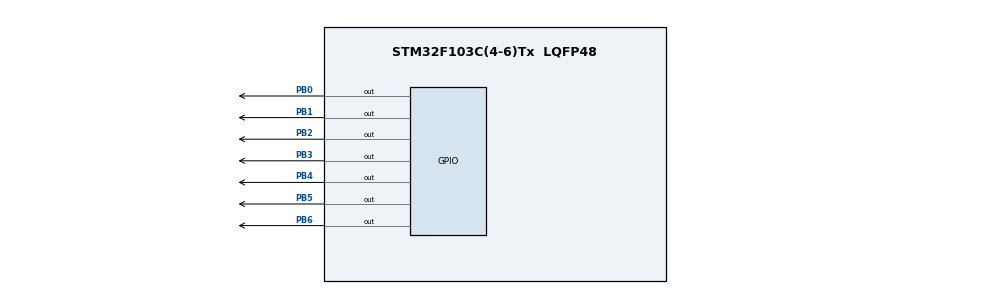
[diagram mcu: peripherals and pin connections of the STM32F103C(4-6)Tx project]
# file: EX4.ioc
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Mcu.Family=STM32F1
Mcu.Name=STM32F103C(4-6)Tx
Mcu.Package=LQFP48
NVIC.PriorityGroup=NVIC_PRIORITYGROUP_4
PB0.Signal=GPIO_Output
PB1.Signal=GPIO_Output
PB2.Signal=GPIO_Output
PB3.Signal=GPIO_Output
PB4.Signal=GPIO_Output
PB5.Signal=GPIO_Output
PB6.Signal=GPIO_Output
ProjectManager.HeapSize=0x200
ProjectManager.StackSize=0x400
ProjectManager.TargetToolchain=STM32CubeIDE
RCC.APB1Freq_Value=8000000
RCC.APB2Freq_Value=8000000
VP_SYS_VS_ND.Mode=No_Debug
board=custom

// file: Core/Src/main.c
/* USER CODE BEGIN Header */
/**
  ******************************************************************************
  * @file           : main.c
  * @brief          : Main program body
  ******************************************************************************
  * @attention
  *
  * <h2><center>&copy; Copyright (c) 2024 STMicroelectronics.
  * All rights reserved.</center></h2>
  *
  * This software component is licensed by ST under BSD 3-Clause license,
  * the "License"; You may not use this file except in compliance with the
  * License. You may obtain a copy of the License at:
  *                        opensource.org/licenses/BSD-3-Clause
  *
  ******************************************************************************
  */
/* USER CODE END Header */
#include "main.h"

void SystemClock_Config(void);
static void MX_GPIO_Init(void);

int main(void)
{

  /* MCU Configuration--------------------------------------------------------*/

  /* Reset of all peripherals, Initializes the Flash interface and the Systick. */
  HAL_Init();

  /* Configure the system clock */
  SystemClock_Config();

  /* Initialize all configured peripherals */
  MX_GPIO_Init();

  /* Infinite loop */
  /* USER CODE BEGIN WHILE */
  void led7seg_on(int pin) {
  	 HAL_GPIO_WritePin(GPIOB, pin, RESET);
  }

  void led7seg_off(int pin) {
  	 HAL_GPIO_WritePin(GPIOB, pin, SET);
  }
  void display_7seg(int counter) {

		 if(counter == 0) {
			 led7seg_on(GPIO_PIN_0);
			 led7seg_on(GPIO_PIN_1);
			 led7seg_on(GPIO_PIN_2);
			 led7seg_on(GPIO_PIN_3);
			 led7seg_on(GPIO_PIN_4);
			 led7seg_on(GPIO_PIN_5);
			 led7seg_off(GPIO_PIN_6);
		 }
		 else if(counter == 1) {
			 led7seg_off(GPIO_PIN_0);
			 led7seg_on(GPIO_PIN_1);
			 led7seg_on(GPIO_PIN_2);
			 led7seg_off(GPIO_PIN_3);
			 led7seg_off(GPIO_PIN_4);
			 led7seg_off(GPIO_PIN_5);
			 led7seg_off(GPIO_PIN_6);
		 }
		 else if(counter == 2) {
			 led7seg_on(GPIO_PIN_0);
			 led7seg_on(GPIO_PIN_1);
			 led7seg_off(GPIO_PIN_2);
			 led7seg_on(GPIO_PIN_3);
			 led7seg_on(GPIO_PIN_4);
			 led7seg_off(GPIO_PIN_5);
			 led7seg_on(GPIO_PIN_6);
		 }
		 else if(counter == 3) {
			 led7seg_on(GPIO_PIN_0);
			 led7seg_on(GPIO_PIN_1);
			 led7seg_on(GPIO_PIN_2);
			 led7seg_on(GPIO_PIN_3);
			 led7seg_off(GPIO_PIN_4);
			 led7seg_off(GPIO_PIN_5);
			 led7seg_on(GPIO_PIN_6);
		 }
		 else if(counter == 4) {
			 led7seg_off(GPIO_PIN_0);
			 led7seg_on(GPIO_PIN_1);
			 led7seg_on(GPIO_PIN_2);
			 led7seg_off(GPIO_PIN_3);
			 led7seg_off(GPIO_PIN_4);
			 led7seg_on(GPIO_PIN_5);
			 led7seg_on(GPIO_PIN_6);
		 }
		 else if(counter == 5) {
			 led7seg_on(GPIO_PIN_0);
			 led7seg_off(GPIO_PIN_1);
			 led7seg_on(GPIO_PIN_2);
			 led7seg_on(GPIO_PIN_3);
			 led7seg_off(GPIO_PIN_4);
			 led7seg_on(GPIO_PIN_5);
			 led7seg_on(GPIO_PIN_6);
		 }
		 else if(counter == 6) {
			 led7seg_on(GPIO_PIN_0);
			 led7seg_off(GPIO_PIN_1);
			 led7seg_on(GPIO_PIN_2);
			 led7seg_on(GPIO_PIN_3);
			 led7seg_on(GPIO_PIN_4);
			 led7seg_on(GPIO_PIN_5);
			 led7seg_on(GPIO_PIN_6);
		 }
		 else if(counter == 7) {
			 led7seg_on(GPIO_PIN_0);
			 led7seg_on(GPIO_PIN_1);
			 led7seg_on(GPIO_PIN_2);
			 led7seg_off(GPIO_PIN_3);
			 led7seg_off(GPIO_PIN_4);
			 led7seg_off(GPIO_PIN_5);
			 led7seg_off(GPIO_PIN_6);
		 }
		 else if(counter == 8) {
			 led7seg_on(GPIO_PIN_0);
			 led7seg_on(GPIO_PIN_1);
			 led7seg_on(GPIO_PIN_2);
			 led7seg_on(GPIO_PIN_3);
			 led7seg_on(GPIO_PIN_4);
			 led7seg_on(GPIO_PIN_5);
			 led7seg_on(GPIO_PIN_6);
		 }
		 else {
			 led7seg_on(GPIO_PIN_0);
			 led7seg_on(GPIO_PIN_1);
			 led7seg_on(GPIO_PIN_2);
			 led7seg_on(GPIO_PIN_3);
			 led7seg_off(GPIO_PIN_4);
			 led7seg_on(GPIO_PIN_5);
			 led7seg_on(GPIO_PIN_6);
		 }
  }
  int counter = 0;
  while (1)
  {
    /* USER CODE END WHILE */
		 if(counter == 10) counter = 0;
		 display_7seg(counter++);
		 HAL_Delay(1000);
  }
}

void SystemClock_Config(void)
{
  RCC_OscInitTypeDef RCC_OscInitStruct = {0};
  RCC_ClkInitTypeDef RCC_ClkInitStruct = {0};

  /** Initializes the RCC Oscillators according to the specified parameters
  * in the RCC_OscInitTypeDef structure.
  */
  RCC_OscInitStruct.OscillatorType = RCC_OSCILLATORTYPE_HSI;
  RCC_OscInitStruct.HSIState = RCC_HSI_ON;
  RCC_OscInitStruct.HSICalibrationValue = RCC_HSICALIBRATION_DEFAULT;
  RCC_OscInitStruct.PLL.PLLState = RCC_PLL_NONE;
  if (HAL_RCC_OscConfig(&RCC_OscInitStruct) != HAL_OK)
  {
    Error_Handler();
  }
  /** Initializes the CPU, AHB and APB buses clocks
  */
  RCC_ClkInitStruct.ClockType = RCC_CLOCKTYPE_HCLK|RCC_CLOCKTYPE_SYSCLK
                              |RCC_CLOCKTYPE_PCLK1|RCC_CLOCKTYPE_PCLK2;
  RCC_ClkInitStruct.SYSCLKSource = RCC_SYSCLKSOURCE_HSI;
  RCC_ClkInitStruct.AHBCLKDivider = RCC_SYSCLK_DIV1;
  RCC_ClkInitStruct.APB1CLKDivider = RCC_HCLK_DIV1;
  RCC_ClkInitStruct.APB2CLKDivider = RCC_HCLK_DIV1;

  if (HAL_RCC_ClockConfig(&RCC_ClkInitStruct, FLASH_LATENCY_0) != HAL_OK)
  {
    Error_Handler();
  }
}

static void MX_GPIO_Init(void)
{
  GPIO_InitTypeDef GPIO_InitStruct = {0};

  /* GPIO Ports Clock Enable */
  __HAL_RCC_GPIOB_CLK_ENABLE();

  /*Configure GPIO pin Output Level */
  HAL_GPIO_WritePin(GPIOB, GPIO_PIN_0|GPIO_PIN_1|GPIO_PIN_2|GPIO_PIN_3
                          |GPIO_PIN_4|GPIO_PIN_5|GPIO_PIN_6, GPIO_PIN_RESET);

  /*Configure GPIO pins : PB0 PB1 PB2 PB3
                           PB4 PB5 PB6 */
  GPIO_InitStruct.Pin = GPIO_PIN_0|GPIO_PIN_1|GPIO_PIN_2|GPIO_PIN_3
                          |GPIO_PIN_4|GPIO_PIN_5|GPIO_PIN_6;
  GPIO_InitStruct.Mode = GPIO_MODE_OUTPUT_PP;
  GPIO_InitStruct.Pull = GPIO_NOPULL;
  GPIO_InitStruct.Speed = GPIO_SPEED_FREQ_LOW;
  HAL_GPIO_Init(GPIOB, &GPIO_InitStruct);

}

void Error_Handler(void)
{
  __disable_irq();
  while (1)
  {
  }
}

/************************ (C) COPYRIGHT STMicroelectronics *****END OF FILE****/
